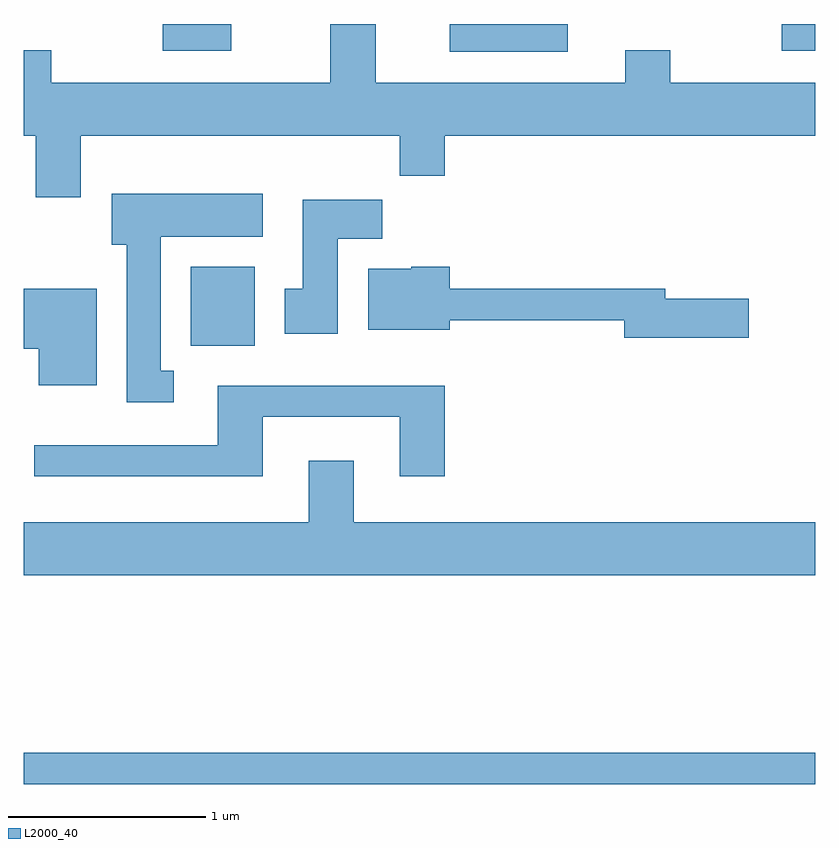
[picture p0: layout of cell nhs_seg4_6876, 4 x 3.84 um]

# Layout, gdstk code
import gdstk
lib = gdstk.Library(unit=1e-6, precision=1e-09)
def R(c, l, rs):  # rectangles x0, y0, x1, y1
    for r in rs: c.add(gdstk.rectangle(r[:2], r[2:], *l))
def P(c, l, *ps):  # polygons
    for p in ps: c.add(gdstk.Polygon(p, *l))
L2000_40 = (2000, 40)

nhs_seg4_6876 = lib.new_cell('nhs_seg4_6876')
R(nhs_seg4_6876, L2000_40, [(387.611,1278.141,391.611,1278.299), (388.456,1280.356,388.779,1280.754), (389.763,1281.841,390.359,1281.982), (388.313,1281.846,388.659,1281.982), (391.443,1281.846,391.611,1281.982)])
P(nhs_seg4_6876, L2000_40, [(387.899,1281.416),(389.511,1281.416),(389.511,1281.216),(389.739,1281.216),(389.739,1281.416),(391.611,1281.416),(391.611,1281.684),(390.879,1281.684),(390.879,1281.849),(390.651,1281.849),(390.651,1281.684),(389.389,1281.684),(389.389,1281.982),(389.161,1281.982),(389.161,1281.684),(387.749,1281.684),(387.749,1281.849),(387.611,1281.849),(387.611,1281.416),(387.671,1281.416),(387.671,1281.106),(387.899,1281.106)],
  [(388.368,1280.229),(388.304,1280.229),(388.304,1280.906),(388.819,1280.906),(388.819,1281.124),(388.056,1281.124),(388.056,1280.866),(388.131,1280.866),(388.131,1280.071),(388.368,1280.071)],
  [(389.199,1280.896),(389.424,1280.896),(389.424,1281.094),(389.021,1281.094),(389.021,1280.644),(388.931,1280.644),(388.931,1280.416),(389.199,1280.416)],
  [(391.274,1280.594),(390.854,1280.594),(390.854,1280.644),(389.764,1280.644),(389.764,1280.754),(389.57,1280.754),(389.57,1280.744),(389.351,1280.744),(389.351,1280.436),(389.764,1280.436),(389.764,1280.486),(390.646,1280.486),(390.646,1280.396),(391.274,1280.396)],
  [(387.979,1280.644),(387.611,1280.644),(387.611,1280.341),(387.686,1280.341),(387.686,1280.156),(387.979,1280.156)],
  [(388.819,1279.996),(389.511,1279.996),(389.511,1279.696),(389.739,1279.696),(389.739,1280.154),(388.591,1280.154),(388.591,1279.854),(387.663,1279.854),(387.663,1279.696),(388.819,1279.696)],
  [(391.611,1279.464),(389.279,1279.464),(389.279,1279.774),(389.051,1279.774),(389.051,1279.464),(387.611,1279.464),(387.611,1279.196),(391.611,1279.196)])

lib.write_gds('nhs_seg4_6876.gds')
